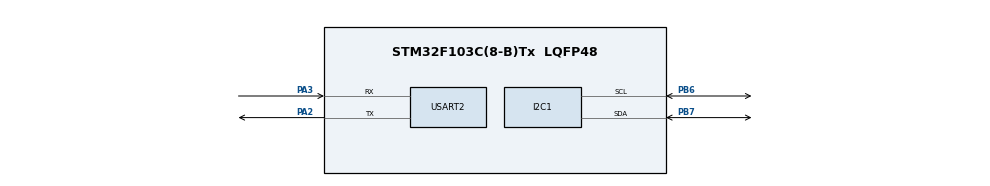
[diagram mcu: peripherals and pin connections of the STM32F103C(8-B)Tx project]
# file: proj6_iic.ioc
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Mcu.Family=STM32F1
Mcu.Name=STM32F103C(8-B)Tx
Mcu.Package=LQFP48
NVIC.I2C1_ER_IRQn=true\:0\:0\:false\:false\:true\:true\:true\:true
NVIC.I2C1_EV_IRQn=true\:0\:0\:false\:false\:true\:true\:true\:true
NVIC.PriorityGroup=NVIC_PRIORITYGROUP_4
PA13.Mode=Serial_Wire
PA13.Signal=SYS_JTMS-SWDIO
PA14.Mode=Serial_Wire
PA14.Signal=SYS_JTCK-SWCLK
PA2.Mode=Asynchronous
PA2.Signal=USART2_TX
PA3.Mode=Asynchronous
PA3.Signal=USART2_RX
PB6.Mode=I2C
PB6.Signal=I2C1_SCL
PB7.Mode=I2C
PB7.Signal=I2C1_SDA
ProjectManager.HeapSize=0x200
ProjectManager.StackSize=0x400
ProjectManager.TargetToolchain=STM32CubeIDE
RCC.APB1Freq_Value=8000000
RCC.APB2Freq_Value=8000000
USART2.VirtualMode=VM_ASYNC
board=custom

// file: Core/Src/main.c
/* USER CODE BEGIN Header */
/**
  ******************************************************************************
  * @file           : main.c
  * @brief          : Main program body
  ******************************************************************************
  * @attention
  *
  * Copyright (c) 2024 STMicroelectronics.
  * All rights reserved.
  *
  * This software is licensed under terms that can be found in the LICENSE file
  * in the root directory of this software component.
  * If no LICENSE file comes with this software, it is provided AS-IS.
  *
  ******************************************************************************
  */
/* USER CODE END Header */
#include "main.h"
#include "i2c.h"
#include "usart.h"
#include "gpio.h"

/* USER CODE BEGIN Includes */
#include "aht20.h"
#include <stdio.h>
#include <string.h>
/* USER CODE END Includes */

/* USER CODE BEGIN PV */
// 0: 初始狀態 1: 正在發送指令 2: 指令完成後等待 75 ms 讀取aht20數據 3: 讀取中 4: 讀取完成並解析數據
uint8_t aht20State = 0;
/* USER CODE END PV */

void SystemClock_Config(void);

int main(void)
{

  /* MCU Configuration--------------------------------------------------------*/

  /* Reset of all peripherals, Initializes the Flash interface and the Systick. */
  HAL_Init();

  /* Configure the system clock */
  SystemClock_Config();

  /* Initialize all configured peripherals */
  MX_GPIO_Init();
  MX_I2C1_Init();
  MX_USART2_UART_Init();
  /* USER CODE BEGIN 2 */
  AHT20_Init();

  float temperature, humidity;
  char message[50];
  /* USER CODE END 2 */

  /* Infinite loop */
  /* USER CODE BEGIN WHILE */
  while (1)
  {
	  if(aht20State == 0){
		  AHT20_Measure();
		  aht20State = 1;
	  }else if(aht20State == 2){
		  HAL_Delay(75);
		  AHT20_Get();
		  aht20State = 3;
	  }else if(aht20State == 4){
		  AHT20_Analysis(&temperature, &humidity);
		  sprintf(message,"溫度: %.1f 度C , 濕度: %.1f %%\r\n",temperature,humidity);
		  HAL_UART_Transmit(&huart2, (uint8_t*)message, strlen(message), HAL_MAX_DELAY);

		  HAL_Delay(1000);
		  aht20State = 0;
	  }
//	  AHT20_Read(&temperature, &humidity);
//	  sprintf(message,"溫度: %.1f 度C , 濕度: %.1f %%\r\n",temperature,humidity);
//	  HAL_UART_Transmit(&huart2, (uint8_t*)message, strlen(message), HAL_MAX_DELAY);
//
//	  HAL_Delay(3000);
    /* USER CODE END WHILE */

  }
}

void SystemClock_Config(void)
{
  RCC_OscInitTypeDef RCC_OscInitStruct = {0};
  RCC_ClkInitTypeDef RCC_ClkInitStruct = {0};

  /** Initializes the RCC Oscillators according to the specified parameters
  * in the RCC_OscInitTypeDef structure.
  */
  RCC_OscInitStruct.OscillatorType = RCC_OSCILLATORTYPE_HSI;
  RCC_OscInitStruct.HSIState = RCC_HSI_ON;
  RCC_OscInitStruct.HSICalibrationValue = RCC_HSICALIBRATION_DEFAULT;
  RCC_OscInitStruct.PLL.PLLState = RCC_PLL_NONE;
  if (HAL_RCC_OscConfig(&RCC_OscInitStruct) != HAL_OK)
  {
    Error_Handler();
  }

  /** Initializes the CPU, AHB and APB buses clocks
  */
  RCC_ClkInitStruct.ClockType = RCC_CLOCKTYPE_HCLK|RCC_CLOCKTYPE_SYSCLK
                              |RCC_CLOCKTYPE_PCLK1|RCC_CLOCKTYPE_PCLK2;
  RCC_ClkInitStruct.SYSCLKSource = RCC_SYSCLKSOURCE_HSI;
  RCC_ClkInitStruct.AHBCLKDivider = RCC_SYSCLK_DIV1;
  RCC_ClkInitStruct.APB1CLKDivider = RCC_HCLK_DIV1;
  RCC_ClkInitStruct.APB2CLKDivider = RCC_HCLK_DIV1;

  if (HAL_RCC_ClockConfig(&RCC_ClkInitStruct, FLASH_LATENCY_0) != HAL_OK)
  {
    Error_Handler();
  }
}

void Error_Handler(void)
{
  __disable_irq();
  while (1)
  {
  }
}
